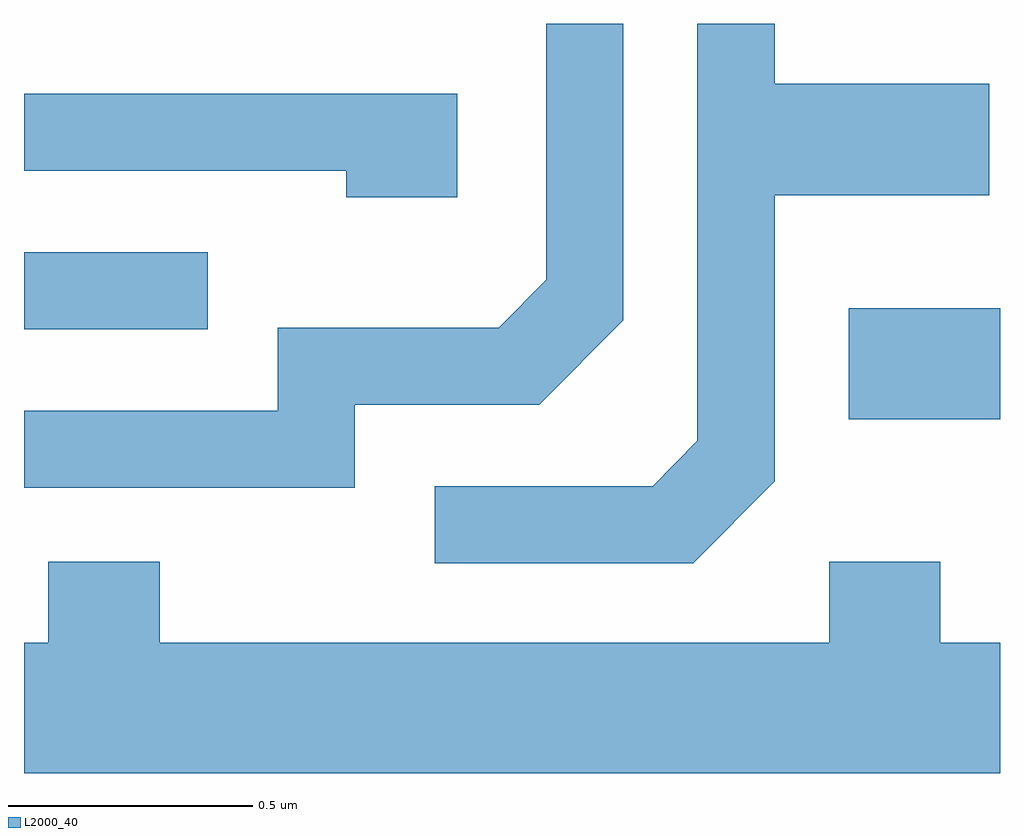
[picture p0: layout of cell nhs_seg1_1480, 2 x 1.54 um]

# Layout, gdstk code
import gdstk
lib = gdstk.Library(unit=1e-6, precision=1e-09)
def R(c, l, rs):  # rectangles x0, y0, x1, y1
    for r in rs: c.add(gdstk.rectangle(r[:2], r[2:], *l))
def P(c, l, *ps):  # polygons
    for p in ps: c.add(gdstk.Polygon(p, *l))
L2000_40 = (2000, 40)

nhs_seg1_1480 = lib.new_cell('nhs_seg1_1480')
R(nhs_seg1_1480, L2000_40, [(197.301,966.901,197.611,967.129), (195.611,967.086,195.988,967.244)])
P(nhs_seg1_1480, L2000_40, [(196.289,966.931),(196.667,966.931),(196.839,967.104),(196.839,967.712),(196.681,967.712),(196.681,967.187),(196.584,967.089),(196.131,967.089),(196.131,966.919),(195.611,966.919),(195.611,966.761),(196.289,966.761)],
  [(197.149,966.774),(197.149,967.361),(197.589,967.361),(197.589,967.589),(197.149,967.589),(197.149,967.712),(196.991,967.712),(196.991,966.857),(196.899,966.764),(196.453,966.764),(196.453,966.606),(196.982,966.606)],
  [(196.499,967.569),(195.611,967.569),(195.611,967.411),(196.271,967.411),(196.271,967.356),(196.499,967.356)],
  [(197.611,966.444),(197.489,966.444),(197.489,966.609),(197.261,966.609),(197.261,966.444),(195.889,966.444),(195.889,966.609),(195.661,966.609),(195.661,966.444),(195.611,966.444),(195.611,966.176),(197.611,966.176)])

lib.write_gds('nhs_seg1_1480.gds')
